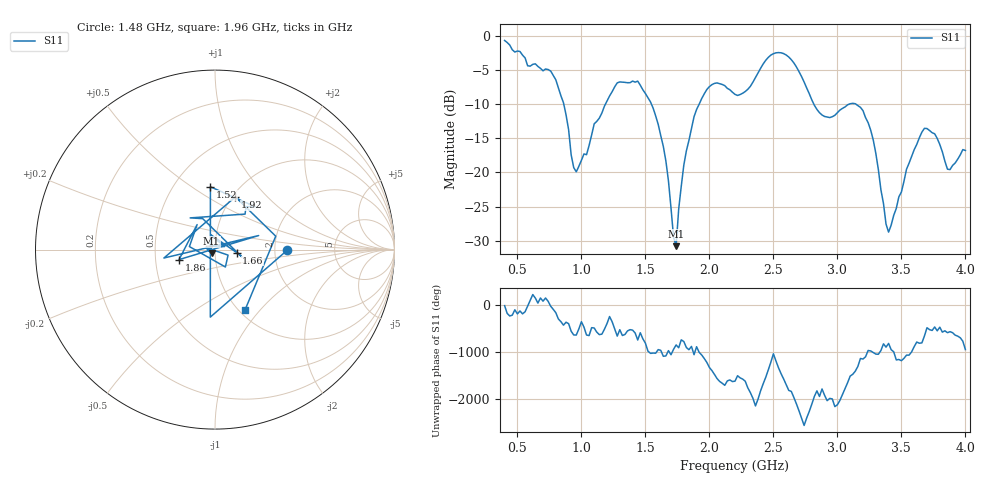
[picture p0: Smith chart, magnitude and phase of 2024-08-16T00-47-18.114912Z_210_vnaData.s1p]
!Created with skrf (http://scikit-rf.org).
# Hz S RI R 50.0
!freq ReS11 ImS11
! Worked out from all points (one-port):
!   181 points, 400 MHz to 4 GHz, reference 50 ohm
!   lowest |S11| = -30.8 dB at 1.74 GHz (marker M1), VSWR 1.06, Z = 48.1 - j2.06 ohm
!   |S11| at or under -10 dB: 862 MHz to 1.189 GHz (326.6 MHz wide, 31.9 % of centre); 1.547 GHz to 1.921 GHz (374.3 MHz wide, 21.6 % of centre); 3.142 GHz to end of sweep (the widest 3 of 4)
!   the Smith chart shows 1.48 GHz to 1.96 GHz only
!   S11 on the Smith chart (normalised r, x): 1.48 GHz: 2.34, -0.02; 1.52 GHz: 0.75, +0.60; 1.66 GHz: 1.27, -0.04; 1.86 GHz: 0.66, -0.08; 1.92 GHz: 1.03, +0.67; 1.96 GHz: 1.07, -0.83
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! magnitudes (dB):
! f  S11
! 400 MHz  -0.7
! 760 MHz  -5.2
! 860 MHz  -9.8
! 960 MHz  -19.9
! 1.3 GHz  -6.8
! 1.48 GHz  -7.9
! 1.52 GHz  -9.1
! 1.66 GHz  -18.3
! 1.72 GHz  -29.4
! 1.74 GHz  -30.8
! 1.76 GHz  -25.4
! 1.8 GHz  -18.9
! 1.86 GHz  -13.6
! 1.92 GHz  -10.0
! 1.96 GHz  -8.5
! 2.06 GHz  -6.9
! 2.2 GHz  -8.6
! 2.5 GHz  -2.7
! 2.66 GHz  -4.0
! 2.88 GHz  -11.6
! 3.1 GHz  -10.0
! 3.26 GHz  -13.8
! 3.4 GHz  -28.7
! 3.56 GHz  -18.6
! 3.68 GHz  -13.6
! 3.76 GHz  -14.4
! 3.86 GHz  -19.5
! 4 GHz  -16.8
